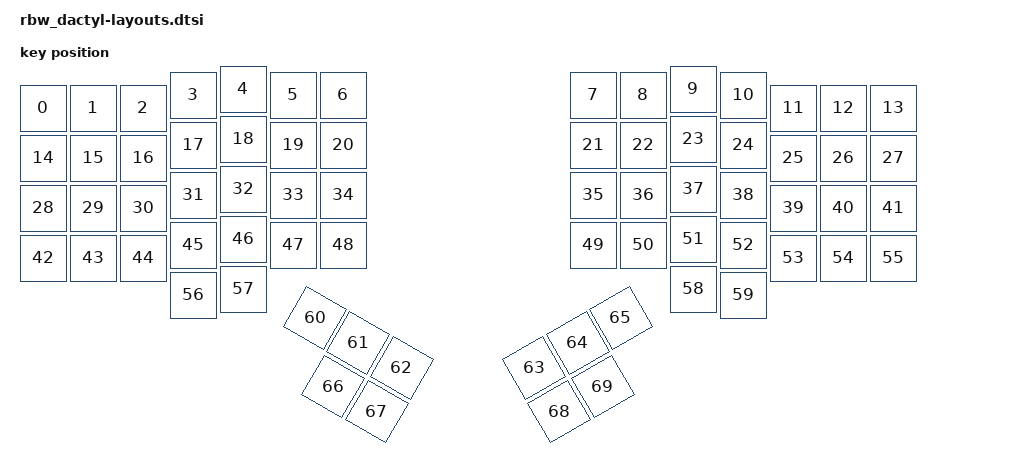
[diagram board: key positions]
#include <physical_layouts.dtsi>
#include "rbw_dactyl-transform.dtsi"

/ {
    rbw_dactyl_physycal_layout: rbw_dactyl_physical_layout {
        compatible = "zmk,physical-layout";
        display-name = "RBW Dactyl";
        transform = <&rbw_dactyl_transform>;
        kscan = <&kscan0>;

        keys  //                     w   h    x    y     rot    rx    ry
            = <&key_physical_attrs 100 100    0   38       0     0     0> // 0,0
            , <&key_physical_attrs 100 100  100   38       0     0     0> // 0,1
            , <&key_physical_attrs 100 100  200   38       0     0     0> // 0,2
            , <&key_physical_attrs 100 100  300   12       0     0     0> // 0,3
            , <&key_physical_attrs 100 100  400    0       0     0     0> // 0,4
            , <&key_physical_attrs 100 100  500   12       0     0     0> // 0,5
            , <&key_physical_attrs 100 100  600   12       0     0     0> // 0,6
            , <&key_physical_attrs 100 100 1100   12       0     0     0> // 0,7
            , <&key_physical_attrs 100 100 1200   12       0     0     0> // 0,8
            , <&key_physical_attrs 100 100 1300    0       0     0     0> // 0,9
            , <&key_physical_attrs 100 100 1400   12       0     0     0> // 0,10
            , <&key_physical_attrs 100 100 1500   38       0     0     0> // 0,11
            , <&key_physical_attrs 100 100 1600   38       0     0     0> // 0,12
            , <&key_physical_attrs 100 100 1700   38       0     0     0> // 0,13
            , <&key_physical_attrs 100 100    0  138       0     0     0> // 1,0
            , <&key_physical_attrs 100 100  100  138       0     0     0> // 1,1
            , <&key_physical_attrs 100 100  200  138       0     0     0> // 1,2
            , <&key_physical_attrs 100 100  300  112       0     0     0> // 1,3
            , <&key_physical_attrs 100 100  400  100       0     0     0> // 1,4
            , <&key_physical_attrs 100 100  500  112       0     0     0> // 1,5
            , <&key_physical_attrs 100 100  600  112       0     0     0> // 1,6
            , <&key_physical_attrs 100 100 1100  112       0     0     0> // 1,7
            , <&key_physical_attrs 100 100 1200  112       0     0     0> // 1,8
            , <&key_physical_attrs 100 100 1300  100       0     0     0> // 1,9
            , <&key_physical_attrs 100 100 1400  112       0     0     0> // 1,10
            , <&key_physical_attrs 100 100 1500  138       0     0     0> // 1,11
            , <&key_physical_attrs 100 100 1600  138       0     0     0> // 1,12
            , <&key_physical_attrs 100 100 1700  138       0     0     0> // 1,13
            , <&key_physical_attrs 100 100    0  238       0     0     0> // 2,0
            , <&key_physical_attrs 100 100  100  238       0     0     0> // 2,1
            , <&key_physical_attrs 100 100  200  238       0     0     0> // 2,2
            , <&key_physical_attrs 100 100  300  212       0     0     0> // 2,3
            , <&key_physical_attrs 100 100  400  200       0     0     0> // 2,4
            , <&key_physical_attrs 100 100  500  212       0     0     0> // 2,5
            , <&key_physical_attrs 100 100  600  212       0     0     0> // 2,6
            , <&key_physical_attrs 100 100 1100  212       0     0     0> // 2,7
            , <&key_physical_attrs 100 100 1200  212       0     0     0> // 2,8
            , <&key_physical_attrs 100 100 1300  200       0     0     0> // 2,9
            , <&key_physical_attrs 100 100 1400  212       0     0     0> // 2,10
            , <&key_physical_attrs 100 100 1500  238       0     0     0> // 2,11
            , <&key_physical_attrs 100 100 1600  238       0     0     0> // 2,12
            , <&key_physical_attrs 100 100 1700  238       0     0     0> // 2,13
            , <&key_physical_attrs 100 100    0  338       0     0     0> // 3,0
            , <&key_physical_attrs 100 100  100  338       0     0     0> // 3,1
            , <&key_physical_attrs 100 100  200  338       0     0     0> // 3,2
            , <&key_physical_attrs 100 100  300  312       0     0     0> // 3,3
            , <&key_physical_attrs 100 100  400  300       0     0     0> // 3,4
            , <&key_physical_attrs 100 100  500  312       0     0     0> // 3,5
            , <&key_physical_attrs 100 100  600  312       0     0     0> // 3,6
            , <&key_physical_attrs 100 100 1100  312       0     0     0> // 3,7
            , <&key_physical_attrs 100 100 1200  312       0     0     0> // 3,8
            , <&key_physical_attrs 100 100 1300  300       0     0     0> // 3,9
            , <&key_physical_attrs 100 100 1400  312       0     0     0> // 3,10
            , <&key_physical_attrs 100 100 1500  338       0     0     0> // 3,11
            , <&key_physical_attrs 100 100 1600  338       0     0     0> // 3,12
            , <&key_physical_attrs 100 100 1700  338       0     0     0> // 3,13
            , <&key_physical_attrs 100 100  300  412       0     0     0> // 4,3
            , <&key_physical_attrs 100 100  400  400       0     0     0> // 4,4
            , <&key_physical_attrs 100 100 1300  400       0     0     0> // 4,9
            , <&key_physical_attrs 100 100 1400  412       0     0     0> // 4,10
            , <&key_physical_attrs 100 100  600  500    3000   700   425> // 4,5
            , <&key_physical_attrs 100 100  700  500    3000   700   425> // 4,6
            , <&key_physical_attrs 100 100  800  500    3000   700   425> // 4,2
            , <&key_physical_attrs 100 100  900  500 (-3000)  1100   425> // 4,11
            , <&key_physical_attrs 100 100 1000  500 (-3000)  1100   425> // 4,7
            , <&key_physical_attrs 100 100 1100  500 (-3000)  1100   425> // 4,8
            , <&key_physical_attrs 100 100  700  600    3000   700   425> // 4,0
            , <&key_physical_attrs 100 100  800  600    3000   700   425> // 4,1
            , <&key_physical_attrs 100 100  900  600 (-3000)  1100   425> // 4,12
            , <&key_physical_attrs 100 100 1000  600 (-3000)  1100   425> // 4,13
            ;
    };

    position_map {
        compatible = "zmk,physical-layout-position-map";

        rbw_dactyl_physical_layout: rbw_dactyl_physical_layout {
            physical-layout = <&rbw_dactyl_physical_layout>;
            positions = <>;
        };
    };
};
